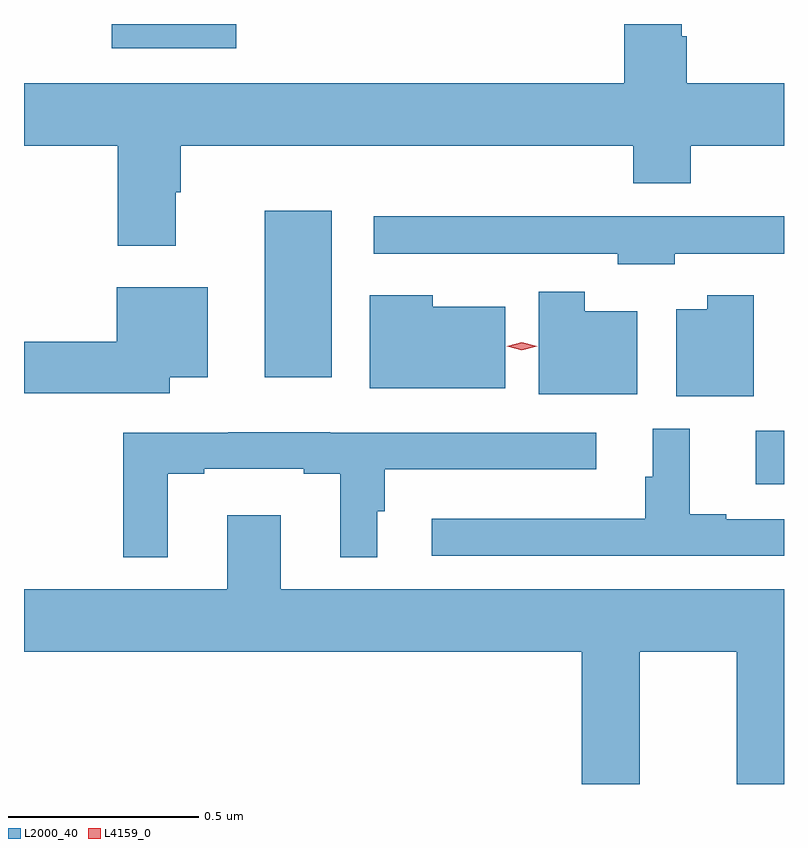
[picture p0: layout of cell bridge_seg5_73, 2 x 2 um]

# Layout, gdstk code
import gdstk
lib = gdstk.Library(unit=1e-6, precision=1e-09)
def R(c, l, rs):  # rectangles x0, y0, x1, y1
    for r in rs: c.add(gdstk.rectangle(r[:2], r[2:], *l))
def P(c, l, *ps):  # polygons
    for p in ps: c.add(gdstk.Polygon(p, *l))
L2000_40 = (2000, 40)
L4159_0 = (4159, 0)

bridge_seg5_73 = lib.new_cell('bridge_seg5_73')
R(bridge_seg5_73, L2000_40, [(329.547,890.501,329.622,890.641), (328.256,890.783,328.432,891.22), (327.853,891.648,328.18,891.712)])
P(bridge_seg5_73, L2000_40, [(328.021,891.269),(328.034,891.269),(328.034,891.392),(329.225,891.392),(329.225,891.293),(329.377,891.293),(329.377,891.392),(329.622,891.392),(329.622,891.556),(329.366,891.556),(329.366,891.68),(329.353,891.68),(329.353,891.712),(329.201,891.712),(329.201,891.556),(327.622,891.556),(327.622,891.392),(327.869,891.392),(327.869,891.129),(328.021,891.129)],
  [(329.334,891.108),(329.622,891.108),(329.622,891.206),(328.542,891.206),(328.542,891.107),(328.88,891.107),(328.88,891.108),(329.184,891.108),(329.184,891.08),(329.334,891.08)],
  [(328.006,890.783),(328.105,890.783),(328.105,891.019),(327.866,891.019),(327.866,890.876),(327.622,890.876),(327.622,890.74),(328.006,890.74)],
  [(329.236,890.956),(329.098,890.956),(329.098,891.007),(328.976,891.007),(328.976,890.738),(329.236,890.738)],
  [(328.888,890.968),(328.698,890.968),(328.698,890.998),(328.532,890.998),(328.532,890.753),(328.888,890.753)],
  [(329.542,890.998),(329.42,890.998),(329.42,890.962),(329.339,890.962),(329.339,890.732),(329.542,890.732)],
  [(329.622,890.409),(329.47,890.409),(329.47,890.422),(329.374,890.422),(329.374,890.647),(329.276,890.647),(329.276,890.52),(329.257,890.52),(329.257,890.41),(328.695,890.41),(328.695,890.313),(329.622,890.313)],
  [(328,890.529),(328.096,890.529),(328.096,890.541),(328.358,890.541),(328.358,890.529),(328.454,890.529),(328.454,890.309),(328.552,890.309),(328.552,890.43),(328.571,890.43),(328.571,890.54),(329.128,890.54),(329.128,890.637),(328.428,890.637),(328.428,890.638),(328.16,890.638),(328.16,890.637),(327.883,890.637),(327.883,890.309),(328,890.309)],
  [(329.242,890.06),(329.498,890.06),(329.498,889.712),(329.622,889.712),(329.622,890.224),(328.297,890.224),(328.297,890.419),(328.157,890.419),(328.157,890.224),(327.622,890.224),(327.622,890.06),(329.09,890.06),(329.09,889.712),(329.242,889.712)])
P(bridge_seg5_73, L4159_0, [(328.932,890.854),(328.892,890.864),(328.892,890.864),(328.892,890.864),(328.932,890.874),(328.972,890.864),(328.972,890.864),(328.972,890.864)])

lib.write_gds('bridge_seg5_73.gds')
